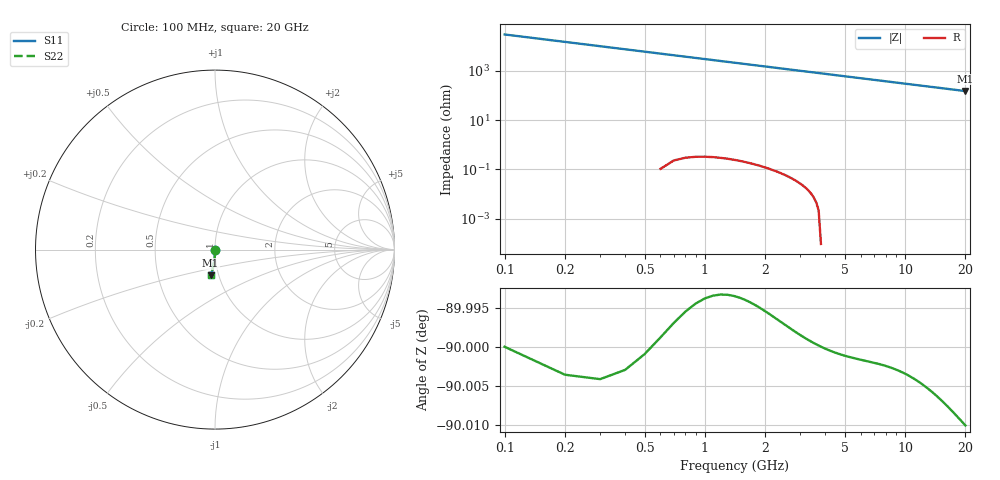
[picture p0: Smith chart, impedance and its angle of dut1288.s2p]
! Touchstone file exported from HFSS 2026.1.0
!  File:  C:/ffzhzh/LocalFiles/Ansys_Project_Files/temp_train_TSV_1288_1783194453_55132.aedt
!  Generated:  03:48:45 AM Jul  5, 2026
!  Design:  TSV
!  Project:  temp_train_TSV_1288_1783194453_55132
! Variables:
!  h_bsmrdl = 2um
!  h_ox = 20um
!  h_rdl = 5um
!  h_sub = 64.98um
!  h_tmrdl = 5um
!  h_tsv = 64.98um
!  h_via = 3um
!  l_bsmrdl = 300um
!  l_sub = 425.6um
!  l_tmrdl = 200um
!  m_sub = 200um
!  pitch = 27.75um
!  r_tsv = 12.8um
!  s_tmrdl = 10um
!  w_bsmrdl = 18um
!  w_sub = 500um
!  w_tmrdl = 12um
!  x_tsv_center1 = 206um
!  x_tsv_center2 = 524um
!  x_tsv_center3 = 736um
!  x_tsv_center4 = 1054um
!  x_tsv_center5 = 1266um
!  x_tsv_center6 = 1584um
# GHz S MA R 50.000000
! Terminal data exported
! Port[1] = TSV1_1_T1
! Port[2] = TSV1_1_T2
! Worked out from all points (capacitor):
!   200 points, 100 MHz to 20 GHz, reference 50 ohm
!   read as one part in shunt: C = 52.5 fF near 200 MHz
!   lowest |Z| = 152 ohm at 20 GHz (marker M1)
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0.1  0.0006847 -82.0  0.9999 -0.1  0.9999 -0.1  0.0006847 -82.0
! Gamma 0 0 0 0
! Port Impedance 50 0 50 0
0.2  0.001367 -85.2  0.9999 -0.1  0.9999 -0.1  0.001367 -85.2
0.3  0.002063 -86.1  0.9999 -0.2  0.9999 -0.2  0.002063 -86.1
0.4  0.002769 -86.5  0.9998 -0.2  0.9998 -0.2  0.002769 -86.5
0.5  0.003485 -86.7  0.9998 -0.3  0.9998 -0.3  0.003485 -86.7
0.7  0.004937 -87.2  0.9997 -0.4  0.9997 -0.4  0.004937 -87.2
0.8  0.005668 -87.4  0.9997 -0.4  0.9997 -0.4  0.005668 -87.4
1  0.007134 -87.8  0.9996 -0.5  0.9996 -0.5  0.007134 -87.8
1.2  0.008603 -88.2  0.9996 -0.6  0.9996 -0.6  0.008603 -88.2
1.4  0.01007 -88.5  0.9996 -0.7  0.9996 -0.7  0.01007 -88.5
1.7  0.01228 -88.9  0.9995 -0.9  0.9995 -0.9  0.01228 -88.9
2  0.01448 -89.2  0.9994 -1.1  0.9994 -1.1  0.01448 -89.2
2.7  0.01961 -89.9  0.9993 -1.4  0.9993 -1.4  0.01961 -89.9
3.5  0.02549 -90.5  0.9991 -1.8  0.9991 -1.8  0.02549 -90.5
4.2  0.03064 -91.0  0.9989 -2.2  0.9989 -2.2  0.03064 -91.0
5  0.03652 -91.5  0.9986 -2.6  0.9986 -2.6  0.03652 -91.5
6.8  0.04978 -92.6  0.9979 -3.6  0.9979 -3.6  0.04978 -92.6
8.3  0.06082 -93.4  0.9972 -4.4  0.9972 -4.4  0.06082 -93.4
10.1  0.07404 -94.5  0.9962 -5.3  0.9962 -5.3  0.07404 -94.5
13.4  0.09818 -96.3  0.9939 -7.0  0.9939 -7.0  0.09818 -96.3
16.7  0.1221 -98.0  0.9911 -8.7  0.9911 -8.7  0.1221 -98.0
20  0.1458 -99.8  0.9877 -10.4  0.9877 -10.4  0.1458 -99.8
